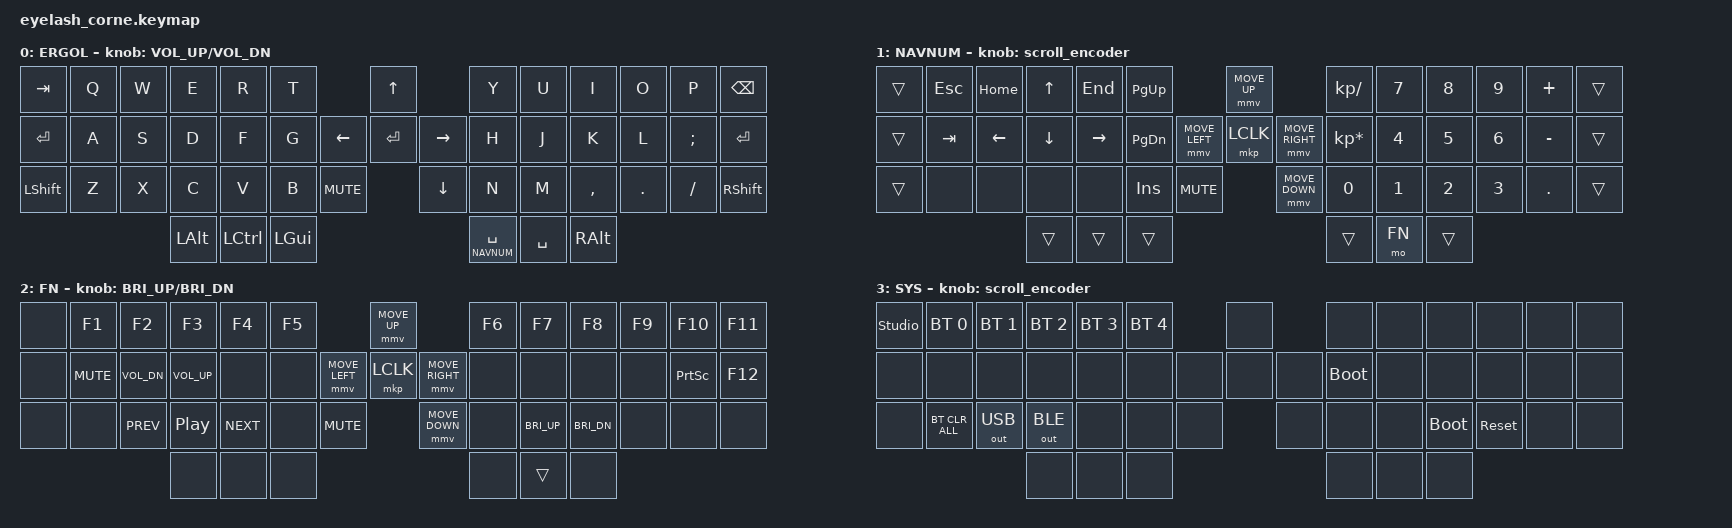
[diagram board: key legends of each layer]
/*
 * Eyelash Corne — Ergol ZMK keymap (corrigé selon schéma ergol.org/claviers/compacts/#kbd_3x6)
 * =============================================================================================
 *
 * PRINCIPE : Ergol installé côté OS (setxkbmap fr -variant ergol).
 * Le firmware envoie du QWERTY, l'OS traduit en Ergol.
 *
 * MATRICE EYELASH CORNE (48 positions) :
 *   Rangée 0 : 6 gauche + [joy↑]                       + 6 droite = 13
 *   Rangée 1 : 6 gauche + [joy←] + [joy●] + [joy→]     + 6 droite = 15
 *   Rangée 2 : 6 gauche + [enc btn]       + [joy↓]     + 6 droite = 14
 *   Rangée 3 : 3 pouces gauche            + 3 pouces droite       =  6
 *   Total = 48
 *
 * LAYOUT ERGOL 3×6 (d'après le schéma officiel) :
 *
 *   Colonne ext gauche : Tab   / Enter / Shift
 *   Pavé 3×5 gauche   : QCOPW / ASENF / ZX?VB
 *   Pavé 3×5 droite   : JMDIY / LRTIU / :HG;K    (en Ergol affiché)
 *   Colonne ext droite : Bksp  / Enter / Shift
 *
 *   Pouces gauche (ext→int) : Alt   / Ctrl  / Cmd(GUI)
 *   Pouces droit  (int→ext) : Nav/Space / Space / AltGr
 */

#define ZMK_POINTING_DEFAULT_MOVE_VAL 1200
#define ZMK_POINTING_DEFAULT_SCRL_VAL 25

#include <input/processors.dtsi>
#include <zephyr/dt-bindings/input/input-event-codes.h>
#include <behaviors.dtsi>
#include <dt-bindings/zmk/bt.h>
#include <dt-bindings/zmk/keys.h>
#include <dt-bindings/zmk/outputs.h>
#include <dt-bindings/zmk/pointing.h>
#include <dt-bindings/zmk/rgb.h>

#define BASE   0
#define NAVNUM 1
#define FN     2
#define SYS    3

&mmv_input_listener { input-processors = <&zip_xy_scaler 2 1>; };
&msc_input_listener { input-processors = <&zip_scroll_scaler 2 1>; };

&msc {
    acceleration-exponent = <1>;
    time-to-max-speed-ms = <100>;
    delay-ms = <0>;
};

&mmv {
    time-to-max-speed-ms = <500>;
    acceleration-exponent = <1>;
    trigger-period-ms = <16>;
};

&soft_off { hold-time-ms = <2000>; };

/ {
    behaviors {
        td_shift: td_shift {
            compatible = "zmk,behavior-tap-dance";
            display-name = "Shift/Caps Lock";
            #binding-cells = <0>;
            bindings = <&kp LEFT_SHIFT>, <&kp CAPS>;
        };
    };

    scroll_encoder: scroll_encoder {
        compatible = "zmk,behavior-sensor-rotate";
        #sensor-binding-cells = <0>;
        bindings = <&msc SCRL_DOWN>, <&msc SCRL_UP>;
        tap-ms = <100>;
    };

    combos {
        compatible = "zmk,combos";

        softoff {
            bindings = <&soft_off>;
            key-positions = <1 15 29>;
        };
    };

    keymap {
        compatible = "zmk,keymap";

        /* ==================================================================
         * LAYER 0 — BASE
         * ==================================================================
         *
         * Scancodes QWERTY envoyés (ce que le firmware envoie) :
         *
         *   TAB   Q  W  E  R  T    [joy↑]     Y  U  I  O  P    BSPC
         *   RET   A  S  D  F  G  [j←][j●][j→] H  J  K  L  ;    RET
         *   LSFT  Z  X  C  V  B  [enc] [j↓]   N  M  ,  .  /    RSFT
         *              LALT LCTL LGUI       NAV/SPC SPC  RALT
         *
         * Ce que l'utilisateur voit (traduit par Ergol) :
         *
         *   Tab   Q  C  O  P  W               J  M  D  !  Y    Bksp
         *   ⏎     A  S  E  N  F               L  R  T  I  U    ⏎
         *   ⇧     Z  X  ?  V  B               :  H  G  ;  K    ⇧
         *              Alt Ctrl Cmd        Nav/Spc Spc AltGr
         *
         * Corrections par rapport à la version précédente :
         *   - Col ext gauche  : Tab / ENTER / SHIFT  (était Tab/Esc/Ctrl)
         *   - Col ext droite  : BSPC / ENTER / SHIFT (était BSPC/SQT/DEL)
         *   - Pouces gauche   : Alt / Ctrl / GUI     (était Ctrl/Shift/Nav)
         *   - Pouces droit    : Nav/Spc / Spc / AltGr (était Nav/AltGr/Bksp)
         */
        base_layer {
            display-name = "ERGOL";
            bindings = <
&kp TAB    &kp Q  &kp W  &kp E     &kp R     &kp T                                       &kp UP                  &kp Y            &kp U     &kp I      &kp O    &kp P     &kp BSPC
&kp RET    &kp A  &kp S  &kp D     &kp F     &kp G                             &kp LEFT   &kp ENTER  &kp RIGHT    &kp H            &kp J     &kp K      &kp L    &kp SEMI  &kp RET
&kp LSHFT  &kp Z  &kp X  &kp C     &kp V     &kp B          &kp C_MUTE                    &kp DOWN                &kp N            &kp M     &kp COMMA  &kp DOT  &kp FSLH  &kp RSHFT
                          &kp LALT  &kp LCTRL &kp LGUI                                                             &lt NAVNUM SPACE &kp SPACE &kp RALT
            >;

            sensor-bindings = <&inc_dec_kp C_VOLUME_UP C_VOL_DN>;
        };

        /* ==================================================================
         * LAYER 1 — NAVNUM
         * ==================================================================
         *
         * Activé par le pouce intérieur droit (layer-tap Nav/Space)
         *
         * Main gauche : Navigation
         * Main droite : Pavé numérique
         *
         *  ___  Esc Home  ↑  End PgUp [mouse↑]     /   7  8  9  +  ___
         *  ___  Tab  ←   ↓   →  PgDn [m←][clk][m→] *   4  5  6  -  ___
         *  ___  ___  ___ ___ ___ Ins  [mute] [m↓]   0   1  2  3  .  ___
         *                ___  ___ ___            [■] Fn  ___
         */
        navnum_layer {
            display-name = "NAVNUM";
            bindings = <
&trans  &kp ESC  &kp HOME  &kp UP    &kp END    &kp PG_UP                                      &mmv MOVE_UP                     &kp KP_SLASH     &kp N7  &kp N8  &kp N9  &kp PLUS   &trans
&trans  &kp TAB  &kp LEFT  &kp DOWN  &kp RIGHT  &kp PG_DN                       &mmv MOVE_LEFT  &mkp LCLK       &mmv MOVE_RIGHT  &kp KP_ASTERISK  &kp N4  &kp N5  &kp N6  &kp MINUS  &trans
&trans  &none    &none     &none     &none      &kp INS      &kp C_MUTE                         &mmv MOVE_DOWN                   &kp N0           &kp N1  &kp N2  &kp N3  &kp DOT    &trans
                            &trans   &trans     &trans                                                                            &trans           &mo FN  &trans
            >;

            sensor-bindings = <&scroll_encoder>;
        };

        /* ==================================================================
         * LAYER 2 — FN
         * ==================================================================
         *
         * Accessible depuis NAVNUM + pouce droit milieu
         *
         *  ___ F1   F2   F3   F4   F5   [mouse]     F6   F7   F8   F9  F10  F11
         *  ___ Mute Vol- Vol+ ___ ___  [m←][clk][m→] ___ ___ ___ ___ PrSc F12
         *  ___ ___  Prev Play Next ___  [mute] [m↓]  ___ Bri+ Bri- ___ ___ ___
         *                ___  ___  ___              ___  [■]  ___
         */
        fn_layer {
            display-name = "FN";
            bindings = <
&none  &kp F1     &kp F2       &kp F3        &kp F4       &kp F5                                         &mmv MOVE_UP                     &kp F6  &kp F7        &kp F8        &kp F9  &kp F10          &kp F11
&none  &kp C_MUTE &kp C_VOL_DN &kp C_VOL_UP  &none        &none                           &mmv MOVE_LEFT &mkp LCLK       &mmv MOVE_RIGHT  &none   &none         &none         &none   &kp PRINTSCREEN  &kp F12
&none  &none      &kp C_PREV   &kp C_PP      &kp C_NEXT   &none         &kp C_MUTE                       &mmv MOVE_DOWN                   &none   &kp C_BRI_UP  &kp C_BRI_DN  &none   &none            &none
                                &none         &none        &none                                                                            &none   &trans        &none
            >;

            sensor-bindings = <&inc_dec_kp C_BRI_UP C_BRI_DN>;
        };

        /* ==================================================================
         * LAYER 3 — SYS (Bluetooth, RGB, Reset)
         * ==================================================================
         *
         *  studio BT0  BT1  BT2  BT3  BT4                 ___  ___  ___  ___  ___  ___
         *  ___    ___  ___  ___  ___  ___                  boot ___  ___  ___  ___  ___
         *  ___    CLR  USB  BLE  ___  ___                  ___  ___  boot rst  ___  ___
         *                   ___  ___  ___                  ___  ___  ___
         */
        sys_layer {
            display-name = "SYS";
            bindings = <
&studio_unlock  &bt BT_SEL 0    &bt BT_SEL 1  &bt BT_SEL 2  &bt BT_SEL 3  &bt BT_SEL 4                          &none                  &none        &none  &none        &none       &none  &none
&none           &none           &none         &none         &none         &none                         &none     &none      &none       &bootloader  &none  &none        &none       &none  &none
&none           &bt BT_CLR_ALL  &out OUT_USB  &out OUT_BLE  &none         &none           &none                   &none                  &none        &none  &bootloader  &sys_reset  &none  &none
                                              &none         &none         &none                                                          &none        &none  &none
            >;

            sensor-bindings = <&scroll_encoder>;
        };
    };
};
